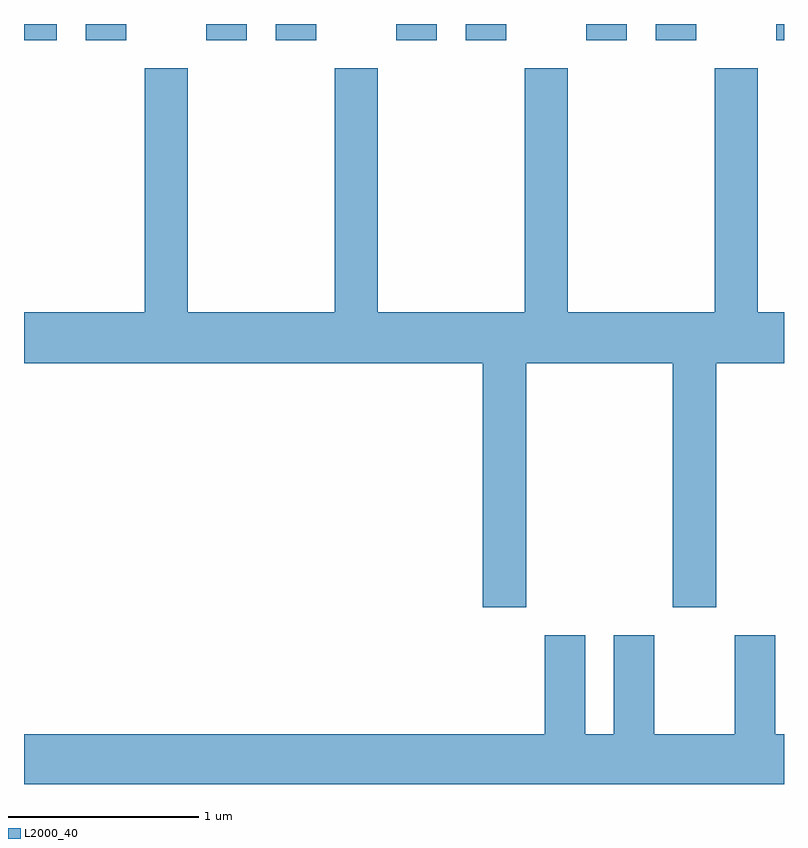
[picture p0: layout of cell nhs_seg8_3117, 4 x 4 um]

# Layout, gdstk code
import gdstk
lib = gdstk.Library(unit=1e-6, precision=1e-09)
def R(c, l, rs):  # rectangles x0, y0, x1, y1
    for r in rs: c.add(gdstk.rectangle(r[:2], r[2:], *l))
def P(c, l, *ps):  # polygons
    for p in ps: c.add(gdstk.Polygon(p, *l))
L2000_40 = (2000, 40)

nhs_seg8_3117 = lib.new_cell('nhs_seg8_3117')
R(nhs_seg8_3117, L2000_40, [(277.611,1920.256,277.784,1920.342), (277.936,1920.256,278.149,1920.342), (278.571,1920.256,278.784,1920.342), (278.936,1920.256,279.149,1920.342), (279.571,1920.256,279.784,1920.342), (279.936,1920.256,280.149,1920.342), (280.571,1920.256,280.784,1920.342), (280.936,1920.256,281.149,1920.342), (281.571,1920.256,281.611,1920.342)])
P(nhs_seg8_3117, L2000_40, [(280.254,1918.556),(281.026,1918.556),(281.026,1917.271),(281.254,1917.271),(281.254,1918.556),(281.611,1918.556),(281.611,1918.824),(281.474,1918.824),(281.474,1920.109),(281.246,1920.109),(281.246,1918.824),(280.474,1918.824),(280.474,1920.109),(280.246,1920.109),(280.246,1918.824),(279.474,1918.824),(279.474,1920.109),(279.246,1920.109),(279.246,1918.824),(278.474,1918.824),(278.474,1920.109),(278.246,1920.109),(278.246,1918.824),(277.611,1918.824),(277.611,1918.556),(280.026,1918.556),(280.026,1917.271),(280.254,1917.271)],
  [(281.611,1916.604),(281.564,1916.604),(281.564,1917.124),(281.351,1917.124),(281.351,1916.604),(280.929,1916.604),(280.929,1917.124),(280.716,1917.124),(280.716,1916.604),(280.564,1916.604),(280.564,1917.124),(280.351,1917.124),(280.351,1916.604),(277.611,1916.604),(277.611,1916.342),(281.611,1916.342)])

lib.write_gds('nhs_seg8_3117.gds')
